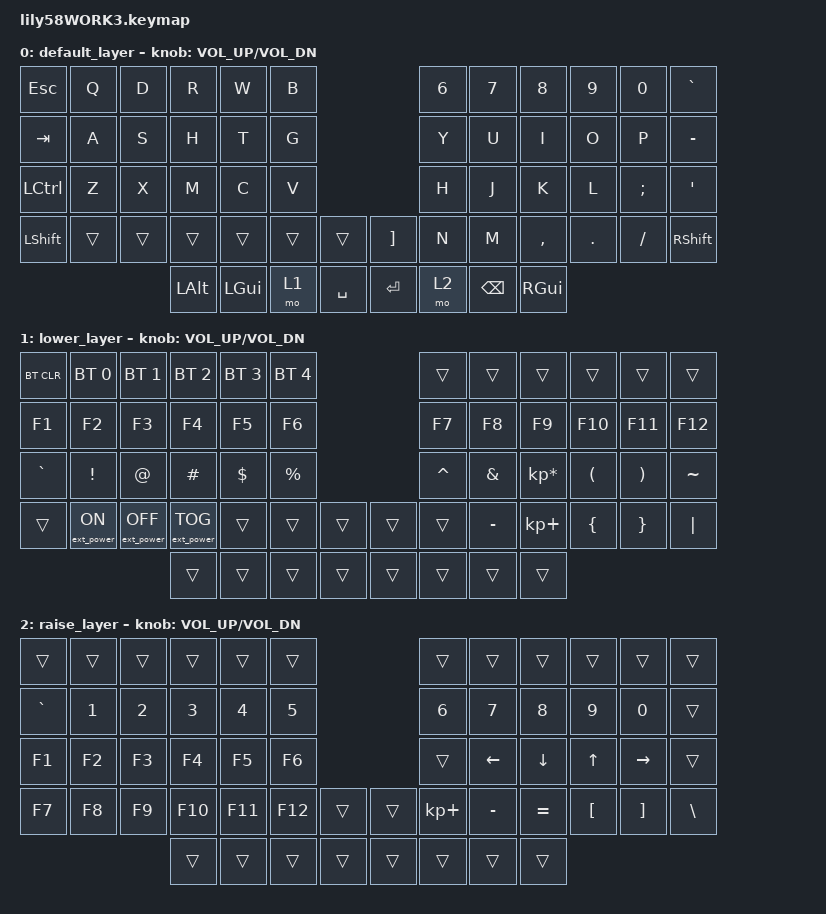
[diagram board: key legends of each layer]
/*
 * Copyright (c) 2020 The ZMK Contributors
 *
 * SPDX-License-Identifier: MIT
 */

#include <behaviors.dtsi>
#include <dt-bindings/zmk/keys.h>
#include <dt-bindings/zmk/bt.h>
#include <dt-bindings/zmk/ext_power.h>

/ {
    keymap {
        compatible = "zmk,keymap";

        default_layer {
// ------------------------------------------------------------------------------------------------------------
// |  ESC  |  Q  |  D  |  R   |  W   |  B   |                   |  J   |  F   |  U    |  P   |   ;   |       |
// |  TAB  |  A  |  S  |  H   |  T   |  G   |                   |  Y   |  N   |  E    |  O   |   I   |       |
// |  CTRL |  Z  |  X  |  M   |  C   |  V   |                   |  K   |  L   |  ,    |  .   |   /   |       |
// | SHIFT |     |     |      |     |       |  "["  |   |  "]"  |      |      |       |      |       | SHIFT |
//                    | ALT  | GUI  | LOWER|  SPACE |   | ENTER | RAISE|  8   | GUI   |
            bindings = <
&kp ESC    &kp Q  &kp D   &kp R    &kp W   &kp B                      &kp N6 &kp N7   &kp N8    &kp N9  &kp N0   &kp GRAVE
&kp TAB    &kp A  &kp S   &kp H    &kp T   &kp G                      &kp Y  &kp U    &kp I     &kp O   &kp P    &kp MINUS
&kp LCTRL  &kp Z  &kp X   &kp M    &kp C   &kp V                      &kp H  &kp J    &kp K     &kp L   &kp SEMI &kp SQT
&kp LSHFT &trans  &trans  &trans  &trans  &trans  &trans      &kp RBKT &kp N  &kp M    &kp COMMA &kp DOT &kp FSLH &kp RSHFT
                        &kp LALT &kp LGUI &mo 1  &kp SPACE    &kp RET  &mo 2  &kp BSPC &kp RGUI
            >;

            sensor-bindings = <&inc_dec_kp C_VOL_UP C_VOL_DN>;
        };

        lower_layer {
// ------------------------------------------------------------------------------------------------------------
// | BTCLR | BT1 | BT2 |  BT3 |  BT4 |  BT5 |                   |      |       |       |      |       |       |
// |  F1   |  F2 |  F3 |  F4  |  F5  |  F6  |                   |  F7  |  BT_CLR |  BT_SEL 0   |  BT_SEL 1 |  F11  |  F12  |
// |   `   |  !  |  @  |  #   |  $   |  %   |                   |  ^   |  &    |  *    |  (   |   )   |   ~   |
// |       |     |     |      |      |      |        |  |       |      |  _    |  +    |  {   |   }   |  "|"  |
//                     |      |      |      |        |  |       |      |       |       |
            bindings = <
&bt BT_CLR &bt BT_SEL 0     &bt BT_SEL 1      &bt BT_SEL 2      &bt BT_SEL 3 &bt BT_SEL 4                 &trans    &trans    &trans          &trans    &trans    &trans
&kp F1     &kp F2           &kp F3            &kp F4            &kp F5       &kp F6                       &kp F7    &kp F8    &kp F9          &kp F10   &kp F11   &kp F12
&kp GRAVE  &kp EXCL         &kp AT            &kp HASH          &kp DOLLAR   &kp PRCNT                    &kp CARET &kp AMPS  &kp KP_MULTIPLY &kp LPAR  &kp RPAR  &kp TILDE
&trans     &ext_power EP_ON &ext_power EP_OFF &ext_power EP_TOG &trans       &trans    &trans   &trans    &trans    &kp MINUS &kp KP_PLUS     &kp LBRC  &kp RBRC  &kp PIPE
                                              &trans            &trans       &trans    &trans   &trans    &trans    &trans    &trans
            >;

            sensor-bindings = <&inc_dec_kp C_VOL_UP C_VOL_DN>;
        };

        raise_layer {
// ------------------------------------------------------------------------------------------------------------
// |       |     |     |      |      |      |                   |      |       |       |      |       |       |
// |   `   |  1  |  2  |  3   |  4   |  5   |                   |  6   |   7   |   8   |  9   |   0   |       |
// |   F1  |  F2 |  F3 |  F4  |  F5  |  F6  |                   |      |   <-  |   v   |  ^   |  ->   |       |
// |   F7  |  F8 |  F9 |  F10 |  F11 |  F12 |        |  |       |  +   |   -   |   =   |  [   |   ]   |   \   |
//                     |      |      |      |        |  |       |      |       |       |
            bindings = <
&trans    &trans &trans &trans  &trans  &trans                       &trans      &trans    &trans    &trans   &trans    &trans
&kp GRAVE &kp N1 &kp N2 &kp N3  &kp N4  &kp N5                       &kp N6      &kp N7    &kp N8    &kp N9   &kp N0    &trans
&kp F1    &kp F2 &kp F3 &kp F4  &kp F5  &kp F6                       &trans      &kp LEFT  &kp DOWN  &kp UP   &kp RIGHT &trans
&kp F7    &kp F8 &kp F9 &kp F10 &kp F11 &kp F12   &trans   &trans    &kp KP_PLUS &kp MINUS &kp EQUAL &kp LBKT &kp RBKT  &kp BSLH
                        &trans  &trans  &trans    &trans   &trans    &trans      &trans    &trans
            >;

            sensor-bindings = <&inc_dec_kp C_VOL_UP C_VOL_DN>;
        };
    };
};
